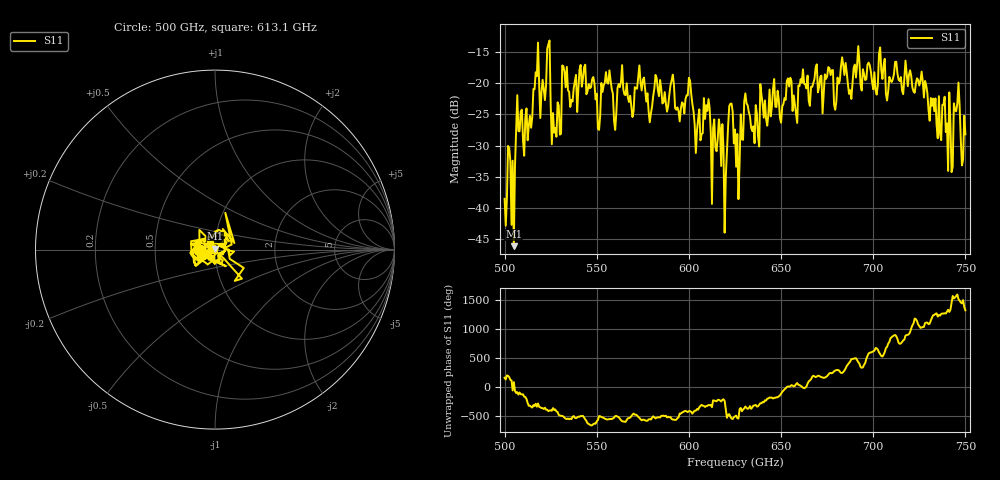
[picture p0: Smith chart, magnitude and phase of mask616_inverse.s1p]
!Created with skrf (http://scikit-rf.org).
# GHz S MA R 50.0
!freq magS11 angS11
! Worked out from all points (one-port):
!   401 points, 500 GHz to 750 GHz, reference 50 ohm
!   lowest |S11| = -46.1 dB at 505 GHz (marker M1), VSWR 1.01, Z = 50.1 + j0.49 ohm
!   |S11| at or under -10 dB: start of sweep to end of sweep
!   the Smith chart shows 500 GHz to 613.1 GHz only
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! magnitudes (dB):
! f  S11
! 500 GHz  -38.5
! 505 GHz  -46.1
! 507.5 GHz  -27.6
! 513.8 GHz  -25.2
! 516.9 GHz  -18.2
! 520.6 GHz  -19.4
! 523.8 GHz  -13.7
! 526.9 GHz  -27.9
! 531.2 GHz  -17.1
! 542.5 GHz  -19.2
! 550.6 GHz  -27.3
! 562.5 GHz  -20.6
! 593.8 GHz  -23.8
! 609.4 GHz  -23.5
! 618.8 GHz  -30.4
! 622.5 GHz  -23.3
! 625 GHz  -27.4
! 628.1 GHz  -25.0
! 631.2 GHz  -23.2
! 636.9 GHz  -24.9
! 656.2 GHz  -24.4
! 680 GHz  -22.9
! 683.8 GHz  -17.1
! 687.5 GHz  -21.1
! 718.8 GHz  -20.4
! 741.9 GHz  -26.5
! 745 GHz  -24.5
! 750 GHz  -28.2
